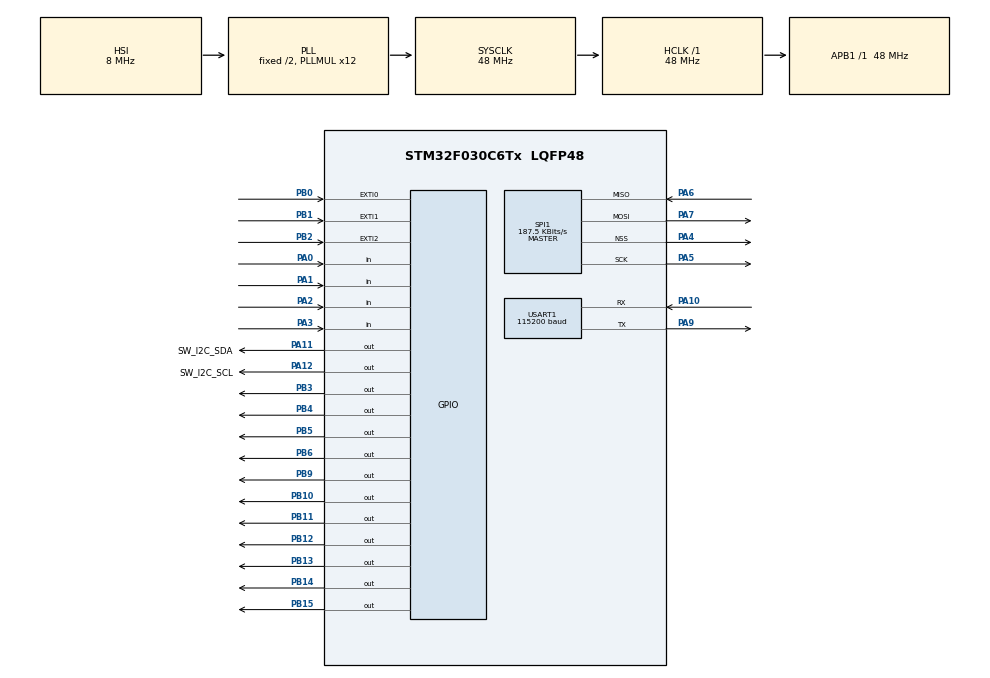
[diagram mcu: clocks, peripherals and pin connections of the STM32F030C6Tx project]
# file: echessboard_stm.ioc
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Mcu.Family=STM32F0
Mcu.Name=STM32F030C6Tx
Mcu.Package=LQFP48
NVIC.EXTI0_1_IRQn=true\:0\:0\:false\:false\:true\:true\:true\:true
NVIC.EXTI2_3_IRQn=true\:0\:0\:false\:false\:true\:true\:true\:true
NVIC.SPI1_IRQn=true\:0\:0\:false\:false\:true\:true\:true\:true
PA0.GPIO_PuPd=GPIO_PULLUP
PA0.Signal=GPIO_Input
PA1.GPIO_PuPd=GPIO_PULLUP
PA1.Signal=GPIO_Input
PA10.Mode=Asynchronous
PA10.Signal=USART1_RX
PA11.GPIO_Label=SW_I2C_SDA
PA11.GPIO_ModeDefaultOutputPP=GPIO_MODE_OUTPUT_OD
PA11.GPIO_PuPd=GPIO_PULLUP
PA11.Signal=GPIO_Output
PA12.GPIO_Label=SW_I2C_SCL
PA12.GPIO_ModeDefaultOutputPP=GPIO_MODE_OUTPUT_OD
PA12.GPIO_PuPd=GPIO_PULLUP
PA12.Signal=GPIO_Output
PA13.Mode=Serial_Wire
PA13.Signal=SYS_SWDIO
PA14.Mode=Serial_Wire
PA14.Signal=SYS_SWCLK
PA2.GPIO_PuPd=GPIO_PULLUP
PA2.Signal=GPIO_Input
PA3.GPIO_PuPd=GPIO_PULLUP
PA3.Signal=GPIO_Input
PA4.Mode=NSS_Signal_Hard_Output
PA4.Signal=SPI1_NSS
PA5.Mode=Full_Duplex_Master
PA5.Signal=SPI1_SCK
PA6.Mode=Full_Duplex_Master
PA6.Signal=SPI1_MISO
PA7.Mode=Full_Duplex_Master
PA7.Signal=SPI1_MOSI
PA9.Mode=Asynchronous
PA9.Signal=USART1_TX
PB0.GPIO_ModeDefaultEXTI=GPIO_MODE_IT_FALLING
PB0.GPIO_PuPd=GPIO_PULLUP
PB0.Signal=GPXTI0
PB1.GPIO_ModeDefaultEXTI=GPIO_MODE_IT_FALLING
PB1.GPIO_PuPd=GPIO_PULLUP
PB1.Signal=GPXTI1
PB10.Signal=GPIO_Output
PB11.Signal=GPIO_Output
PB12.Signal=GPIO_Output
PB13.Signal=GPIO_Output
PB14.Signal=GPIO_Output
PB15.Signal=GPIO_Output
PB2.GPIO_ModeDefaultEXTI=GPIO_MODE_IT_FALLING
PB2.GPIO_PuPd=GPIO_PULLUP
PB2.Signal=GPXTI2
PB3.Signal=GPIO_Output
PB4.Signal=GPIO_Output
PB5.Signal=GPIO_Output
PB6.Signal=GPIO_Output
PB9.Signal=GPIO_Output
ProjectManager.HeapSize=0x200
ProjectManager.StackSize=0x400
ProjectManager.TargetToolchain=CMake
RCC.AHBFreq_Value=48000000
RCC.APB1Freq_Value=48000000
RCC.APB1TimFreq_Value=48000000
RCC.HCLKFreq_Value=48000000
RCC.PLLMUL=RCC_PLL_MUL12
RCC.SYSCLKFreq_VALUE=48000000
RCC.SYSCLKSource=RCC_SYSCLKSOURCE_PLLCLK
RCC.Usart1ClockSelection=RCC_USART1CLKSOURCE_HSI
SPI1.BaudRatePrescaler=SPI_BAUDRATEPRESCALER_256
SPI1.CalculateBaudRate=187.5 KBits/s
SPI1.DataSize=SPI_DATASIZE_8BIT
SPI1.Direction=SPI_DIRECTION_2LINES
SPI1.Mode=SPI_MODE_MASTER
SPI1.VirtualNSS=VM_NSSHARD
SPI1.VirtualType=VM_MASTER
TIM1.Prescaler=3
USART1.BaudRate=115200
USART1.VirtualMode-Asynchronous=VM_ASYNC
VP_TIM1_VS_ClockSourceINT.Mode=Internal
board=custom

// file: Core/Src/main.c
/* USER CODE BEGIN Header */
/**
 ******************************************************************************
 * @file           : main.c
 * @brief          : Main program body
 ******************************************************************************
 * @attention
 *
 * Copyright (c) 2025 STMicroelectronics.
 * All rights reserved.
 *
 * This software is licensed under terms that can be found in the LICENSE file
 * in the root directory of this software component.
 * If no LICENSE file comes with this software, it is provided AS-IS.
 *
 ******************************************************************************
 */
/* USER CODE END Header */
#include "main.h"

/* USER CODE BEGIN Includes */
#include "delay_us.h"
#include "tca9535.h"
#include "stm32f0xx_hal_gpio.h"
#include "string.h"
/* USER CODE END Includes */

SPI_HandleTypeDef hspi1;

TIM_HandleTypeDef htim1;

UART_HandleTypeDef huart1;

/* USER CODE BEGIN PV */
TCA9535_handle_t io1 = {.i2c_address = 0x20};
TCA9535_handle_t io2 = {.i2c_address = 0x21};
TCA9535_handle_t io3 = {.i2c_address = 0x22};
TCA9535_handle_t io4 = {.i2c_address = 0x23};
TCA9535_handle_t *io_handles[] = {&io1, &io2, &io3, &io4};
/* USER CODE END PV */

void SystemClock_Config(void);
static void MX_GPIO_Init(void);
static void MX_SPI1_Init(void);
static void MX_USART1_UART_Init(void);
static void MX_TIM1_Init(void);
/* USER CODE BEGIN PFP */
static int interrupt_received = 0;
static int interrupt_pin = 0;
static int game_state = 0;
typedef struct
{
  uint8_t pos[8];
} game_pos_t;
static game_pos_t game_pos_confirmed = {0};
static game_pos_t game_pos_old = {0};
static game_pos_t game_pos_curr = {0};

typedef enum
{
  PAWN = 1,
  ROOK,
  BISHOP,
  KNIGHT,
  QUEEN,
  KING
} PieceType;

_Bool game_pos_equal(game_pos_t *pos1, game_pos_t *pos2)
{
  return memcmp(pos1->pos, pos2->pos, sizeof(pos1->pos)) == 0;
}

typedef enum
{
  STARTED = 1 << 0,
  WHITEWON = 1 << 1,
  BLACKWON = 1 << 2,
  DRAW = 1 << 3,
  PROM_QUEEN = 1 << 4,
  PROM_KNIGHT = 1 << 5,
  PROM_ROOK = 1 << 6,
  PROM_BISHOP = 1 << 7,
  WHITE_TO_MOVE = 1 << 8,
  BLACK_TO_MOVE = 1 << 9,
  ILLEGAL_MOVE = 1 << 10,
} GameStateBits;
#define GET_GAMESTATE(bit) ((game_state & bit) > 0)
#define SET_GAMESTATE(bit) (game_state |= bit)
#define RESET_GAMESTATE(bit) (game_state &= ~bit)
#define IRQ_START_GAME_BIT 1
#define IRQ_PROMOTION_BIT 2
#define IRQ_CONFIRM_MOVE_BIT 4

#define LED_PORT GPIOB
#define GAMESTARTED_LED_PIN GPIO_PIN_15
#define BLACKWON_LED_PIN GPIO_PIN_12
#define WHITEWON_LED_PIN GPIO_PIN_11
#define DRAW_LED_PIN GPIO_PIN_13
#define QUEENPROM_LED_PIN GPIO_PIN_3
#define KNIGHTPROM_LED_PIN GPIO_PIN_4
#define ROOKPROM_LED_PIN GPIO_PIN_6
#define BISHOPPROM_LED_PIN GPIO_PIN_5
#define BLACKMOVE_LED_PIN GPIO_PIN_10
#define ILLEGALMOVE_LED_PIN GPIO_PIN_14
#define WHITEMOVE_LED_PIN GPIO_PIN_9
#define SET_LED(led_pin) HAL_GPIO_WritePin(LED_PORT, led_pin, GPIO_PIN_SET)
#define RESET_LED(led_pin) HAL_GPIO_WritePin(LED_PORT, led_pin, GPIO_PIN_RESET)
#define PUT_LED(led_pin, state) HAL_GPIO_WritePin(LED_PORT, led_pin, state)

void SetWaitResetLed(uint32_t delay_ms, uint16_t led_pin)
{
  SET_LED(led_pin);
  HAL_Delay(delay_ms);
  RESET_LED(led_pin);
}

void CycleLeds(uint32_t delay_ms)
{
  SetWaitResetLed(delay_ms, GAMESTARTED_LED_PIN);
  SetWaitResetLed(delay_ms, BLACKWON_LED_PIN);
  SetWaitResetLed(delay_ms, DRAW_LED_PIN);
  SetWaitResetLed(delay_ms, WHITEWON_LED_PIN);
  SetWaitResetLed(delay_ms, QUEENPROM_LED_PIN);
  SetWaitResetLed(delay_ms, KNIGHTPROM_LED_PIN);
  SetWaitResetLed(delay_ms, ROOKPROM_LED_PIN);
  SetWaitResetLed(delay_ms, BISHOPPROM_LED_PIN);
  SetWaitResetLed(delay_ms, BLACKMOVE_LED_PIN);
  SetWaitResetLed(delay_ms, ILLEGALMOVE_LED_PIN);
  SetWaitResetLed(delay_ms, WHITEMOVE_LED_PIN);
}

void SetLedsToGamestate()
{
  PUT_LED(GAMESTARTED_LED_PIN, GET_GAMESTATE(STARTED));
  PUT_LED(BLACKWON_LED_PIN, GET_GAMESTATE(BLACKWON));
  PUT_LED(WHITEWON_LED_PIN, GET_GAMESTATE(WHITEWON));
  PUT_LED(DRAW_LED_PIN, GET_GAMESTATE(DRAW));
  PUT_LED(QUEENPROM_LED_PIN, GET_GAMESTATE(PROM_QUEEN));
  PUT_LED(KNIGHTPROM_LED_PIN, GET_GAMESTATE(PROM_KNIGHT));
  PUT_LED(ROOKPROM_LED_PIN, GET_GAMESTATE(PROM_ROOK));
  PUT_LED(BISHOPPROM_LED_PIN, GET_GAMESTATE(PROM_BISHOP));
  PUT_LED(BLACKMOVE_LED_PIN, GET_GAMESTATE(BLACK_TO_MOVE));
  PUT_LED(ILLEGALMOVE_LED_PIN, GET_GAMESTATE(ILLEGAL_MOVE));
  PUT_LED(WHITEMOVE_LED_PIN, GET_GAMESTATE(WHITE_TO_MOVE));
}

void HAL_GPIO_EXTI_Callback(uint16_t GPIO_Pin)
{
  interrupt_received = 1;
  interrupt_pin = GPIO_Pin;
}

_Bool ReadGamePosition(game_pos_t *dest)
{
  memset(dest->pos, 0, sizeof(dest->pos));
  uint8_t i;
  _Bool ret = 1;
  for (i = 0; i < 4; i++)
  {
    if (!I2C_read_byte_at(io_handles[i]->i2c_address, 0, dest->pos + i * 2))
    {
      ret = 0;
    }
    if (!I2C_read_byte_at(io_handles[i]->i2c_address, 1, dest->pos + i * 2 + 1))
    {
      ret = 0;
    }
  }
  for (size_t i = 0; i < 8; i++)
  {
    dest->pos[i] = ~dest->pos[i];
  }
  return ret;
}
typedef enum
{
  GAME_POS = 0,
  PROMOTION = 1,
  CONFIRM_MOVE = 2,
  GAME_START = 0xFF,
} MessageType;
uint8_t reverse_bits(uint8_t byte) {
    uint8_t reversed = 0;
    for (int i = 0; i < 8; i++) {
        reversed |= ((byte >> i) & 1) << (7 - i);
    }
    return reversed;
}
void SendGamePosSPI(game_pos_t *pos)
{
  uint8_t tx_buf[9];
  tx_buf[0] = GAME_POS; // Command byte for game position
  for (int i=1;i<9;i++){
    tx_buf[i] = reverse_bits(pos->pos[i-1]);
  }
  HAL_SPI_Transmit(&hspi1, tx_buf, sizeof(tx_buf), HAL_MAX_DELAY);
}
void SendGameStartSPI()
{
  uint8_t tx_buf[1] = {GAME_START}; // Command byte for start game
  HAL_SPI_Transmit(&hspi1, tx_buf, sizeof(tx_buf), HAL_MAX_DELAY);
}
void SendConfirmMoveSPI()
{
  uint8_t tx_buf[2] = {CONFIRM_MOVE, 0b00000001}; // Command byte for confirm move
  HAL_SPI_Transmit(&hspi1, tx_buf, sizeof(tx_buf), HAL_MAX_DELAY);
}
void SendPromotionSPI(PieceType piece)
{
  uint8_t tx_buf[2] = {PROMOTION, (uint8_t)piece}; // Command byte for promotion
  HAL_SPI_Transmit(&hspi1, tx_buf, sizeof(tx_buf), HAL_MAX_DELAY);
}
/* USER CODE END PFP */

int main(void)
{

  /* MCU Configuration--------------------------------------------------------*/

  /* Reset of all peripherals, Initializes the Flash interface and the Systick. */
  HAL_Init();

  /* Configure the system clock */
  SystemClock_Config();

  /* Initialize all configured peripherals */
  MX_GPIO_Init();
  MX_SPI1_Init();
  MX_USART1_UART_Init();
  MX_TIM1_Init();
  /* USER CODE BEGIN 2 */
  HAL_TIM_Base_Start(&htim1);
  HAL_GPIO_WritePin(GPIOB, 0xFFFF, GPIO_PIN_RESET);
  CycleLeds(200);
  /* USER CODE END 2 */

  /* Infinite loop */
  while (1)
  {

    /* USER CODE BEGIN 3 */

    if (interrupt_received)
    {
      interrupt_received = 0;
      if (interrupt_pin == IRQ_START_GAME_BIT && !GET_GAMESTATE(STARTED))
      {
        ReadGamePosition(&game_pos_old);
        //int i;
        //for (i=0;i<8;i++){
        //  if(game_pos_old.pos[i] != 0b11000011){
        //      break;
        //  }
        //}
        //if(i != 8){
        //  continue;
        //}
        SET_GAMESTATE(STARTED);
        SET_GAMESTATE(WHITE_TO_MOVE);
        SET_GAMESTATE(PROM_QUEEN);
        SendGameStartSPI();
      }
      if (interrupt_pin == IRQ_CONFIRM_MOVE_BIT && GET_GAMESTATE(STARTED))
      {
        if (GET_GAMESTATE(WHITE_TO_MOVE))
        {
          RESET_GAMESTATE(WHITE_TO_MOVE);
          SET_GAMESTATE(BLACK_TO_MOVE);
        }
        else
        {
          RESET_GAMESTATE(BLACK_TO_MOVE);
          SET_GAMESTATE(WHITE_TO_MOVE);
        }
        SendConfirmMoveSPI();
      }
      if (interrupt_pin == IRQ_PROMOTION_BIT && GET_GAMESTATE(STARTED))
      {
        if (GET_GAMESTATE(PROM_QUEEN))
        {
          RESET_GAMESTATE(PROM_QUEEN);
          SET_GAMESTATE(PROM_KNIGHT);
        }
        else if (GET_GAMESTATE(PROM_KNIGHT))
        {
          RESET_GAMESTATE(PROM_KNIGHT);
          SET_GAMESTATE(PROM_ROOK);
        }
        else if (GET_GAMESTATE(PROM_ROOK))
        {
          RESET_GAMESTATE(PROM_ROOK);
          SET_GAMESTATE(PROM_BISHOP);
        }
        else if (GET_GAMESTATE(PROM_BISHOP))
        {
          RESET_GAMESTATE(PROM_BISHOP);
          SET_GAMESTATE(PROM_QUEEN);
        }
        SendPromotionSPI(GET_GAMESTATE(PROM_QUEEN) ? QUEEN : GET_GAMESTATE(PROM_KNIGHT) ? KNIGHT
                                                         : GET_GAMESTATE(PROM_ROOK)     ? ROOK
                                                         : GET_GAMESTATE(PROM_BISHOP)   ? BISHOP
                                                                                        : PAWN);
      }
      SetLedsToGamestate();
    }
    if (GET_GAMESTATE(STARTED))
    {
      if (ReadGamePosition(&game_pos_curr))
      {
        if (!game_pos_equal(&game_pos_curr, &game_pos_old))
        {
          SendGamePosSPI(&game_pos_curr);
        }
        memcpy(&game_pos_old, &game_pos_curr, sizeof(game_pos_t));
      }
    }
    /* USER CODE END 3 */
  }
}

void SystemClock_Config(void)
{
  RCC_OscInitTypeDef RCC_OscInitStruct = {0};
  RCC_ClkInitTypeDef RCC_ClkInitStruct = {0};
  RCC_PeriphCLKInitTypeDef PeriphClkInit = {0};

  /** Initializes the RCC Oscillators according to the specified parameters
   * in the RCC_OscInitTypeDef structure.
   */
  RCC_OscInitStruct.OscillatorType = RCC_OSCILLATORTYPE_HSI;
  RCC_OscInitStruct.HSIState = RCC_HSI_ON;
  RCC_OscInitStruct.HSICalibrationValue = RCC_HSICALIBRATION_DEFAULT;
  RCC_OscInitStruct.PLL.PLLState = RCC_PLL_ON;
  RCC_OscInitStruct.PLL.PLLSource = RCC_PLLSOURCE_HSI;
  RCC_OscInitStruct.PLL.PLLMUL = RCC_PLL_MUL12;
  RCC_OscInitStruct.PLL.PREDIV = RCC_PREDIV_DIV1;
  if (HAL_RCC_OscConfig(&RCC_OscInitStruct) != HAL_OK)
  {
    Error_Handler();
  }

  /** Initializes the CPU, AHB and APB buses clocks
   */
  RCC_ClkInitStruct.ClockType = RCC_CLOCKTYPE_HCLK | RCC_CLOCKTYPE_SYSCLK | RCC_CLOCKTYPE_PCLK1;
  RCC_ClkInitStruct.SYSCLKSource = RCC_SYSCLKSOURCE_PLLCLK;
  RCC_ClkInitStruct.AHBCLKDivider = RCC_SYSCLK_DIV1;
  RCC_ClkInitStruct.APB1CLKDivider = RCC_HCLK_DIV1;

  if (HAL_RCC_ClockConfig(&RCC_ClkInitStruct, FLASH_LATENCY_1) != HAL_OK)
  {
    Error_Handler();
  }
  PeriphClkInit.PeriphClockSelection = RCC_PERIPHCLK_USART1;
  PeriphClkInit.Usart1ClockSelection = RCC_USART1CLKSOURCE_HSI;
  if (HAL_RCCEx_PeriphCLKConfig(&PeriphClkInit) != HAL_OK)
  {
    Error_Handler();
  }
}

static void MX_SPI1_Init(void)
{

  /* SPI1 parameter configuration*/
  hspi1.Instance = SPI1;
  hspi1.Init.Mode = SPI_MODE_MASTER;
  hspi1.Init.Direction = SPI_DIRECTION_2LINES;
  hspi1.Init.DataSize = SPI_DATASIZE_8BIT;
  hspi1.Init.CLKPolarity = SPI_POLARITY_HIGH;
  hspi1.Init.CLKPhase = SPI_PHASE_1EDGE;
  hspi1.Init.NSS = SPI_NSS_HARD_OUTPUT;
  hspi1.Init.BaudRatePrescaler = SPI_BAUDRATEPRESCALER_256;
  hspi1.Init.FirstBit = SPI_FIRSTBIT_MSB;
  hspi1.Init.TIMode = SPI_TIMODE_DISABLE;
  hspi1.Init.CRCCalculation = SPI_CRCCALCULATION_DISABLE;
  hspi1.Init.CRCPolynomial = 7;
  hspi1.Init.CRCLength = SPI_CRC_LENGTH_DATASIZE;
  hspi1.Init.NSSPMode = SPI_NSS_PULSE_DISABLE;
  if (HAL_SPI_Init(&hspi1) != HAL_OK)
  {
    Error_Handler();
  }
}

static void MX_TIM1_Init(void)
{

  TIM_ClockConfigTypeDef sClockSourceConfig = {0};
  TIM_MasterConfigTypeDef sMasterConfig = {0};

  htim1.Instance = TIM1;
  htim1.Init.Prescaler = 3;
  htim1.Init.CounterMode = TIM_COUNTERMODE_UP;
  htim1.Init.Period = 65535;
  htim1.Init.ClockDivision = TIM_CLOCKDIVISION_DIV1;
  htim1.Init.RepetitionCounter = 0;
  htim1.Init.AutoReloadPreload = TIM_AUTORELOAD_PRELOAD_DISABLE;
  if (HAL_TIM_Base_Init(&htim1) != HAL_OK)
  {
    Error_Handler();
  }
  sClockSourceConfig.ClockSource = TIM_CLOCKSOURCE_INTERNAL;
  if (HAL_TIM_ConfigClockSource(&htim1, &sClockSourceConfig) != HAL_OK)
  {
    Error_Handler();
  }
  sMasterConfig.MasterOutputTrigger = TIM_TRGO_RESET;
  sMasterConfig.MasterSlaveMode = TIM_MASTERSLAVEMODE_DISABLE;
  if (HAL_TIMEx_MasterConfigSynchronization(&htim1, &sMasterConfig) != HAL_OK)
  {
    Error_Handler();
  }
}

static void MX_USART1_UART_Init(void)
{

  huart1.Instance = USART1;
  huart1.Init.BaudRate = 115200;
  huart1.Init.WordLength = UART_WORDLENGTH_8B;
  huart1.Init.StopBits = UART_STOPBITS_1;
  huart1.Init.Parity = UART_PARITY_NONE;
  huart1.Init.Mode = UART_MODE_TX_RX;
  huart1.Init.HwFlowCtl = UART_HWCONTROL_NONE;
  huart1.Init.OverSampling = UART_OVERSAMPLING_16;
  huart1.Init.OneBitSampling = UART_ONE_BIT_SAMPLE_DISABLE;
  huart1.AdvancedInit.AdvFeatureInit = UART_ADVFEATURE_NO_INIT;
  if (HAL_UART_Init(&huart1) != HAL_OK)
  {
    Error_Handler();
  }
}

static void MX_GPIO_Init(void)
{
  GPIO_InitTypeDef GPIO_InitStruct = {0};

  /* GPIO Ports Clock Enable */
  __HAL_RCC_GPIOA_CLK_ENABLE();
  __HAL_RCC_GPIOB_CLK_ENABLE();

  /*Configure GPIO pin Output Level */
  HAL_GPIO_WritePin(GPIOB, GPIO_PIN_10 | GPIO_PIN_11 | GPIO_PIN_12 | GPIO_PIN_13 | GPIO_PIN_14 | GPIO_PIN_15 | GPIO_PIN_3 | GPIO_PIN_4 | GPIO_PIN_5 | GPIO_PIN_6 | GPIO_PIN_9, GPIO_PIN_RESET);

  /*Configure GPIO pin Output Level */
  HAL_GPIO_WritePin(GPIOA, SW_I2C_SDA_Pin | SW_I2C_SCL_Pin, GPIO_PIN_RESET);

  /*Configure GPIO pins : PA0 PA1 PA2 PA3 */
  GPIO_InitStruct.Pin = GPIO_PIN_0 | GPIO_PIN_1 | GPIO_PIN_2 | GPIO_PIN_3;
  GPIO_InitStruct.Mode = GPIO_MODE_INPUT;
  GPIO_InitStruct.Pull = GPIO_PULLUP;
  HAL_GPIO_Init(GPIOA, &GPIO_InitStruct);

  /*Configure GPIO pins : PB0 PB1 PB2 */
  GPIO_InitStruct.Pin = GPIO_PIN_0 | GPIO_PIN_1 | GPIO_PIN_2;
  GPIO_InitStruct.Mode = GPIO_MODE_IT_FALLING;
  GPIO_InitStruct.Pull = GPIO_PULLUP;
  HAL_GPIO_Init(GPIOB, &GPIO_InitStruct);

  /*Configure GPIO pins : PB10 PB11 PB12 PB13
                           PB14 PB15 PB3 PB4
                           PB5 PB6 PB9 */
  GPIO_InitStruct.Pin = GPIO_PIN_10 | GPIO_PIN_11 | GPIO_PIN_12 | GPIO_PIN_13 | GPIO_PIN_14 | GPIO_PIN_15 | GPIO_PIN_3 | GPIO_PIN_4 | GPIO_PIN_5 | GPIO_PIN_6 | GPIO_PIN_9;
  GPIO_InitStruct.Mode = GPIO_MODE_OUTPUT_PP;
  GPIO_InitStruct.Pull = GPIO_NOPULL;
  GPIO_InitStruct.Speed = GPIO_SPEED_FREQ_LOW;
  HAL_GPIO_Init(GPIOB, &GPIO_InitStruct);

  /*Configure GPIO pins : SW_I2C_SDA_Pin SW_I2C_SCL_Pin */
  GPIO_InitStruct.Pin = SW_I2C_SDA_Pin | SW_I2C_SCL_Pin;
  GPIO_InitStruct.Mode = GPIO_MODE_OUTPUT_OD;
  GPIO_InitStruct.Pull = GPIO_PULLUP;
  GPIO_InitStruct.Speed = GPIO_SPEED_FREQ_LOW;
  HAL_GPIO_Init(GPIOA, &GPIO_InitStruct);

  /* EXTI interrupt init*/
  HAL_NVIC_SetPriority(EXTI0_1_IRQn, 0, 0);
  HAL_NVIC_EnableIRQ(EXTI0_1_IRQn);

  HAL_NVIC_SetPriority(EXTI2_3_IRQn, 0, 0);
  HAL_NVIC_EnableIRQ(EXTI2_3_IRQn);

}

void Error_Handler(void)
{
  __disable_irq();
  while (1)
  {
  }
}
